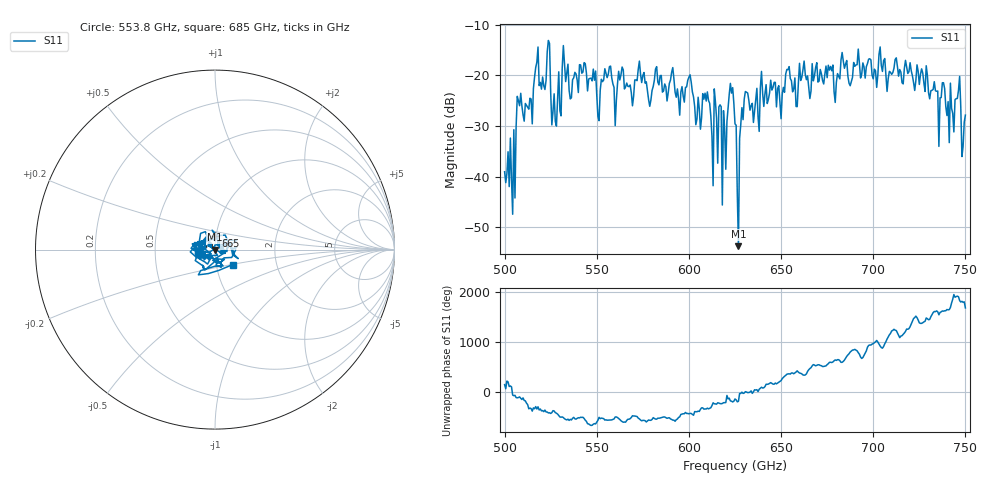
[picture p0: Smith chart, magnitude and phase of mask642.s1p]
!Created with skrf (http://scikit-rf.org).
# GHz S MA R 50.0
!freq magS11 angS11
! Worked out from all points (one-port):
!   401 points, 500 GHz to 750 GHz, reference 50 ohm
!   lowest |S11| = -53.7 dB at 626.9 GHz (marker M1), VSWR 1.00, Z = 49.8 + j0.0135 ohm
!   |S11| at or under -10 dB: start of sweep to end of sweep
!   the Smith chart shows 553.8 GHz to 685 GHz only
!   S11 on the Smith chart (normalised r, x): 553.8 GHz: 0.84, -0.03; 665 GHz: 0.99, +0.15; 685 GHz: 1.20, -0.20
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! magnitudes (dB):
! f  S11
! 500 GHz  -39.0
! 505 GHz  -30.7
! 507.5 GHz  -25.0
! 513.8 GHz  -24.5
! 516.9 GHz  -18.4
! 523.8 GHz  -13.1
! 526.9 GHz  -23.6
! 531.2 GHz  -18.6
! 542.5 GHz  -19.4
! 551.2 GHz  -28.9
! 553.8 GHz  -20.9
! 560 GHz  -29.9
! 562.5 GHz  -20.9
! 593.8 GHz  -22.7
! 610 GHz  -23.3
! 619.4 GHz  -30.5
! 623.1 GHz  -23.5
! 625 GHz  -29.6
! 626.9 GHz  -53.7
! 631.2 GHz  -23.3
! 656.2 GHz  -23.3
! 665 GHz  -22.3
! 685 GHz  -17.8
! 687.5 GHz  -22.0
! 718.8 GHz  -19.6
! 742.5 GHz  -26.5
! 745.6 GHz  -24.6
! 750 GHz  -27.8
